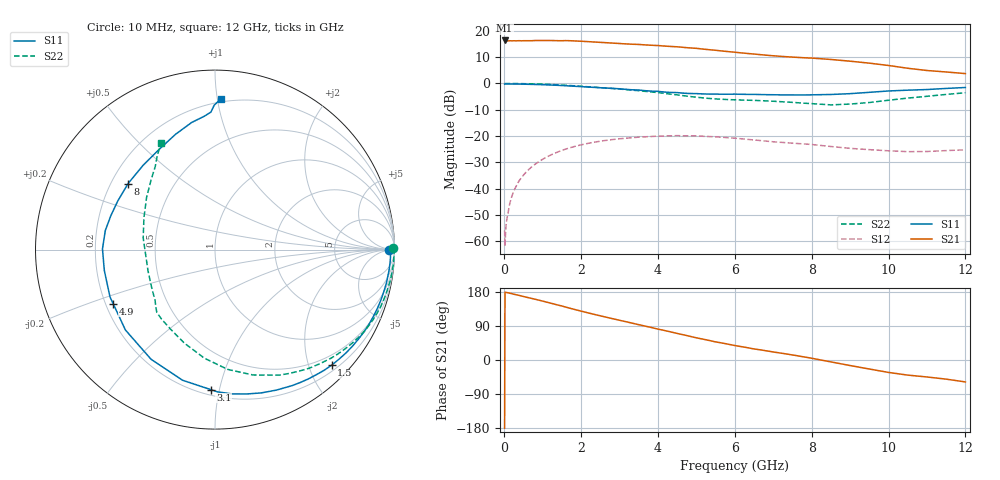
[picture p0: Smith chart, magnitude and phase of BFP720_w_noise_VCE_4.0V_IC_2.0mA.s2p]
! Infineon Technologies  Discrete & RF Semiconductors
! BFP720
! VCE =  4.0 V,  IC =  2.0 mA
! Common Emitter S-Parameters:  Aug 2012
# GHz  S  MA  R  50
!  f  S11  S21  S12  S22
! GHz  MAG  ANG  MAG  ANG  MAG  ANG  MAG  ANG
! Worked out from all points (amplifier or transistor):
!   105 points, 10 MHz to 12 GHz, reference 50 ohm
!   highest |S21| = 16.4 dB at 10 MHz (marker M1)
!   |S21| within 3 dB of that: start of sweep to 5.001 GHz
!   unconditionally stable (mu >= 1): 7.494 GHz to 11.72 GHz
!   at 300 MHz: K = 0.05, MSG = 27.8 dB, |S12| = -39.4 dB
!   at 3.6 GHz: K = 0.31, MSG = 17.6 dB, |S12| = -20.4 dB
!   at 12 GHz: K = 0.84, MSG = 14.5 dB, |S12| = -25.3 dB
!   lowest NFmin = 0.39 dB at 450 MHz
!   S11 on the Smith chart (normalised r, x): 10 MHz: 70, +0; 1.5 GHz: 0.30, -2.40; 3.1 GHz: 0.24, -0.94; 4.9 GHz: 0.23, -0.24; 8 GHz: 0.27, +0.31; 12 GHz: 0.18, +1.02
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0.01  0.972 0.0  6.591 -180.0  0.0016 -34.9  0.9937 0.4
0.02  0.9793 -0.5  6.422 178.9  0.0008 67.8  0.9973 -0.4
0.05  0.978 -1.4  6.493 178.2  0.0021 76.7  0.9969 -1.0
0.15  0.9781 -4.2  6.504 176.1  0.0054 82.9  0.9975 -3.1
0.4  0.9727 -11.2  6.525 170.1  0.0145 81.0  0.9929 -8.4
1  0.948 -29.1  6.577 155.4  0.0361 69.2  0.9703 -21.4
1.5  0.9149 -44.7  6.514 142.5  0.0532 58.2  0.9328 -32.5
1.8  0.8883 -54.3  6.476 134.2  0.0624 51.3  0.9043 -39.0
2.1  0.8618 -63.3  6.305 126.5  0.0704 44.7  0.8734 -45.3
2.6  0.8234 -77.7  6.007 114.2  0.0817 34.2  0.8235 -55.3
3.1  0.78 -91.8  5.703 102.6  0.0898 24.5  0.7718 -65.0
3.5  0.75 -104.0  5.536 93.2  0.0953 17.0  0.7301 -73.1
4.1  0.6948 -123.6  5.205 79.4  0.0999 6.2  0.6571 -86.0
4.9  0.6425 -152.1  4.716 60.9  0.1005 -7.7  0.5579 -105.5
5.5  0.6275 -169.2  4.287 47.8  0.0966 -17.2  0.5078 -119.2
6.1  0.6243 177.8  3.868 36.5  0.0895 -24.7  0.486 -128.6
7  0.6104 162.0  3.369 21.1  0.0776 -32.0  0.4591 -135.9
8  0.6082 142.8  3.043 4.6  0.069 -36.8  0.4135 -148.2
8.5  0.6172 130.5  2.865 -5.0  0.0631 -38.8  0.3915 -162.4
9.5  0.6789 108.9  2.438 -23.8  0.055 -36.8  0.434 155.8
10.5  0.7459 94.5  1.948 -39.9  0.0504 -32.5  0.527 132.5
12  0.8385 87.9  1.542 -57.9  0.0546 -26.9  0.6666 116.6
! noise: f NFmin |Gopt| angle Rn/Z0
0.45  0.39  0.68  5  0.26
1.8  0.53  0.62  29  0.21
2.4  0.62  0.52  76  0.19
5.5  0.87  0.39  86  0.14
10  1.32  0.47  -108  0.22
